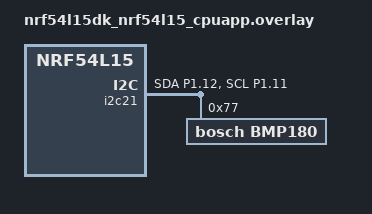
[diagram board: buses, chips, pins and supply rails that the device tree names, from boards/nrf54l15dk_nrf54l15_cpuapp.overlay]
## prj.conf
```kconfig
CONFIG_CBPRINTF_FP_SUPPORT=y
CONFIG_LOG=y
CONFIG_SENSOR=y
CONFIG_BMP180=y
CONFIG_I2C=y
CONFIG_GPIO=y
```

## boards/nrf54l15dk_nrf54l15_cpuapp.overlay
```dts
&i2c21 {
	compatible = "nordic,nrf-twim";
	status = "okay";
	pinctrl-0 = <&i2c21_default>;
	pinctrl-1 = <&i2c21_sleep>;
	pinctrl-names = "default", "sleep";

	 bmp180: bmp180@77 {
        compatible = "bosch,bmp180";
        reg = <0x77>;
        label = "BMP180";
        osr-press = <3>;
    };
};

&pinctrl {
	i2c21_default: i2c21_default {
		group1 {
			psels = <NRF_PSEL(TWIM_SDA, 1, 12)>,
				<NRF_PSEL(TWIM_SCL, 1, 11)>;
			bias-pull-up;
		};
	};

	i2c21_sleep: i2c21_sleep {
		group1 {
			psels = <NRF_PSEL(TWIM_SDA, 1, 12)>,
				<NRF_PSEL(TWIM_SCL, 1, 11)>;
			low-power-enable;
		};
	};
};
```

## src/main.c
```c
#include <zephyr/kernel.h>
#include <zephyr/device.h>
#include <zephyr/drivers/sensor.h>
#include <zephyr/drivers/gpio.h>
#include <zephyr/logging/log.h>

LOG_MODULE_REGISTER(bmp180_msgq, LOG_LEVEL_INF);

#define BUTTON_NODE DT_ALIAS(sw0)
static const struct gpio_dt_spec button = GPIO_DT_SPEC_GET(BUTTON_NODE, gpios);
static struct gpio_callback button_cb_data;

const struct device *bmp180 = DEVICE_DT_GET_ONE(bosch_bmp180);
#define MSGQ_SIZE 10
struct bmp180_msg {
    struct sensor_value temp;
};

K_MSGQ_DEFINE(bmp180_q, sizeof(struct bmp180_msg), MSGQ_SIZE, 4);

static void dump_queue(void)
{
    struct bmp180_msg msg;

    while (k_msgq_get(&bmp180_q, &msg, K_NO_WAIT) == 0) {
        LOG_INF("Temp: %0.2f C",
                sensor_value_to_double(&msg.temp));
    }
}

static void button_pressed_isr(const struct device *dev, struct gpio_callback *cb,
                              uint32_t pins)
{
    LOG_INF("Button pressed: dumping queue");
    if (k_msgq_num_used_get(&bmp180_q) > 0) {
        dump_queue();
    } else {
        LOG_ERR("Queue is empty, nothing to dump");
    }
}

void sensor_thread(void)
{
    struct bmp180_msg msg;
    int ret;

    while (1) {
        if (sensor_sample_fetch(bmp180) != 0) {
            LOG_ERR("sensor_sample_fetch failed");
        } else if (sensor_channel_get(bmp180, SENSOR_CHAN_DIE_TEMP, &msg.temp) != 0) {
            LOG_ERR("sensor_channel_get failed");
        } else {
            ret = k_msgq_put(&bmp180_q, &msg, K_NO_WAIT);
            if (ret != 0) {
                LOG_WRN("bmp180_q full, dropping sample Temp: %0.2f C",
                sensor_value_to_double(&msg.temp));
            }
        }
        k_msleep(500);
    }
}


#define STACK_SIZE 1024
#define PRIORITY 5

K_THREAD_DEFINE(sensor_tid, STACK_SIZE, sensor_thread, NULL, NULL, NULL, PRIORITY, 0, 0);

int main(void)
{
    int ret;

    LOG_INF("BMP180 message queue example");
    LOG_INF("Message queue size: %d", MSGQ_SIZE);
    LOG_INF("Message queue width: %d", sizeof(struct bmp180_msg));

    if (!device_is_ready(bmp180)) {
        LOG_ERR("BMP180 device not ready");
        return -1;
    }

    if (!device_is_ready(button.port)) {
        LOG_ERR("Button device not ready");
        return -1;
    }

    ret = gpio_pin_configure_dt(&button, GPIO_INPUT);
    if (ret < 0) {
        LOG_ERR("Failed to configure button");
        return -1;
    }

    ret = gpio_pin_interrupt_configure_dt(&button, GPIO_INT_EDGE_TO_ACTIVE);
    if (ret < 0) {
        LOG_ERR("Failed to configure button interrupt");
        return -1;
    }

    gpio_init_callback(&button_cb_data, button_pressed_isr, BIT(button.pin));
    gpio_add_callback(button.port, &button_cb_data);

    return 0;
}
```
